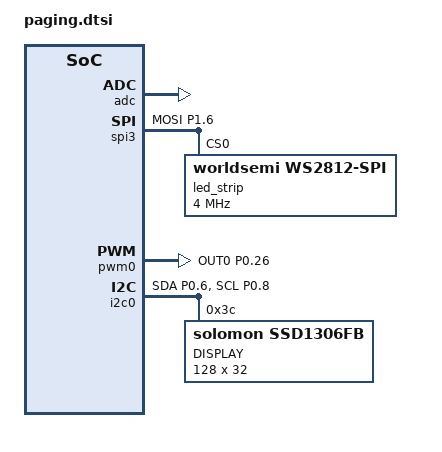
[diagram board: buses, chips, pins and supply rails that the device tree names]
&gpio0 {
    status = "okay";
};

&gpio1 {
    status = "okay";
};

&adc {
    status = "okay";
};

//&uart0 {
    //status = "disabled";
//};

&pinctrl {
    spi3_default: spi3_default {
        group1 {
            psels = <NRF_PSEL(SPIM_MOSI, 1, 6)>;
        };
    };
    spi3_sleep: spi3_sleep {
        group1 {
            psels = <NRF_PSEL(SPIM_MOSI, 1, 6)>;
            low-power-enable;
        };
    };
    
    pwm0_default: pwm0_default {
        group1 {
            psels = <NRF_PSEL(PWM_OUT0, 0, 26)>;
        };
    };
    pwm0_sleep: pwm0_sleep {
        group1 {
            psels = <NRF_PSEL(PWM_OUT0, 0, 26)>;
            low-power-enable;
        };
    };

    i2c0_default: i2c0_default {
        group1 {
            psels = <NRF_PSEL(TWIM_SDA, 0, 6)>,
                    <NRF_PSEL(TWIM_SCL, 0, 8)>;
        };
   };

    i2c0_sleep: i2c0_sleep {
        group1 {
            psels = <NRF_PSEL(TWIM_SDA, 0, 6)>,
                    <NRF_PSEL(TWIM_SCL, 0, 8)>;
            low-power-enable;
        };
    };
};

&spi3 {
    compatible = "nordic,nrf-spim";
    status = "okay";
    pinctrl-0 = <&spi3_default>;
    pinctrl-1 = <&spi3_sleep>;
    pinctrl-names = "default", "sleep";

    led_strip: ws2812@0 {  // 子节点格式
        compatible = "worldsemi,ws2812-spi";
        reg = <0>;  // SPI 绑定必需
        spi-max-frequency = <4000000>;  // 4MHz 推荐
        chain-length = <3>;  // LED 数量
        spi-one-frame = <0x70>;  // WS2812 '1' 位帧
        spi-zero-frame = <0x40>;  // WS2812 '0' 位帧
        color-mapping = <LED_COLOR_ID_GREEN LED_COLOR_ID_RED LED_COLOR_ID_BLUE>;  // GRB 顺序，常见于 WS2812
    };
};

&pwm0 {
    status = "okay";
    pinctrl-0 = <&pwm0_default>;
    pinctrl-1 = <&pwm0_sleep>;
    pinctrl-names = "default", "sleep";
};

//oled
&i2c0 {
	status = "okay";
	compatible = "nordic,nrf-twi";
	pinctrl-0 = <&i2c0_default>;
	pinctrl-1 = <&i2c0_sleep>;
	pinctrl-names = "default", "sleep";
    
	oled: ssd1306@3c {
        // 分辨率修改
        width = <128>;
		height = <32>;

        compatible = "solomon,ssd1306fb";
        segment-offset = <0>;
        multiplex-ratio = <31>;
        com-sequential; //1.30注销本行

		reg = <0x3c>;
		label = "DISPLAY";
		page-offset = <0>;
		display-offset = <0>;
		segment-remap;
		com-invdir;
        inversion-on;   // 翻转颜色
		prechargep = <0x22>;
	};
};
